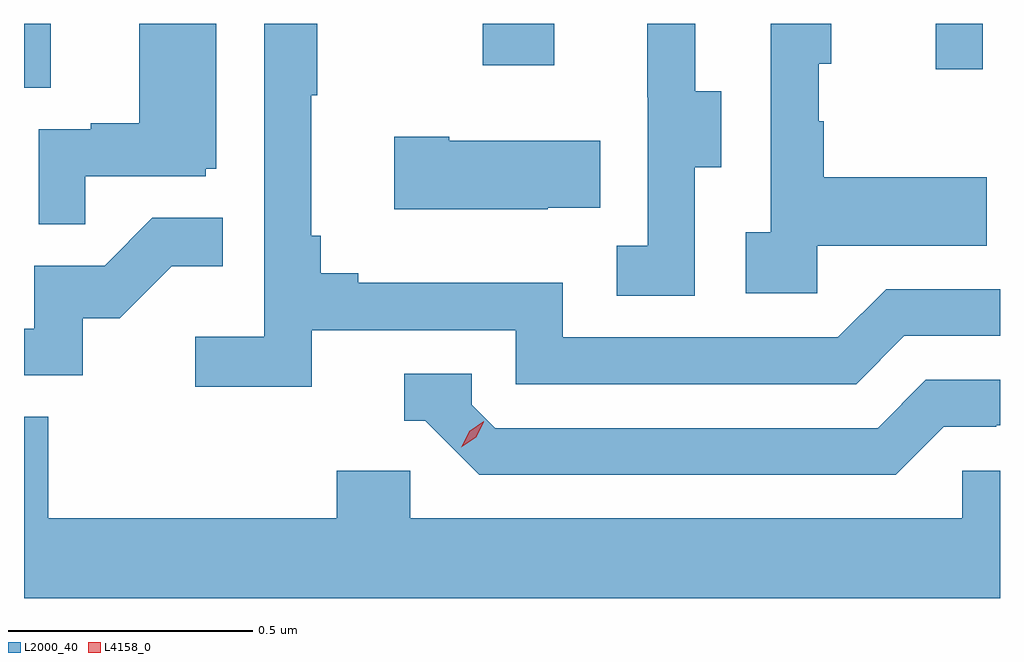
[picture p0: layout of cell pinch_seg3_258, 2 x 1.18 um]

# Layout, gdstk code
import gdstk
lib = gdstk.Library(unit=1e-6, precision=1e-09)
def R(c, l, rs):  # rectangles x0, y0, x1, y1
    for r in rs: c.add(gdstk.rectangle(r[:2], r[2:], *l))
def P(c, l, *ps):  # polygons
    for p in ps: c.add(gdstk.Polygon(p, *l))
L2000_40 = (2000, 40)
L4158_0 = (4158, 0)

pinch_seg3_258 = lib.new_cell('pinch_seg3_258')
R(pinch_seg3_258, L2000_40, [(921.684,720.61,921.739,720.742), (923.552,720.648,923.649,720.742), (922.624,720.657,922.771,720.742)])
P(pinch_seg3_258, L2000_40, [(921.809,720.429),(922.056,720.429),(922.056,720.444),(922.078,720.444),(922.078,720.742),(921.92,720.742),(921.92,720.538),(921.821,720.538),(921.821,720.525),(921.714,720.525),(921.714,720.331),(921.809,720.331)],
  [(923.31,720.287),(923.657,720.287),(923.657,720.427),(923.323,720.427),(923.323,720.542),(923.313,720.542),(923.313,720.66),(923.338,720.66),(923.338,720.742),(923.214,720.742),(923.214,720.314),(923.163,720.314),(923.163,720.189),(923.31,720.189)],
  [(922.274,720.114),(922.692,720.114),(922.692,720.003),(923.389,720.003),(923.488,720.102),(923.684,720.102),(923.684,720.198),(923.451,720.198),(923.352,720.099),(922.788,720.099),(922.788,720.211),(922.369,720.211),(922.369,720.23),(922.292,720.23),(922.292,720.307),(922.273,720.307),(922.273,720.595),(922.285,720.595),(922.285,720.742),(922.176,720.742),(922.176,720.1),(922.035,720.1),(922.035,719.998),(922.274,719.998)],
  [(923.058,720.448),(923.113,720.448),(923.113,720.603),(923.059,720.603),(923.059,720.742),(922.961,720.742),(922.961,720.591),(922.962,720.591),(922.962,720.287),(922.899,720.287),(922.899,720.184),(923.058,720.184)],
  [(922.757,720.365),(922.865,720.365),(922.865,720.502),(922.555,720.502),(922.555,720.51),(922.443,720.51),(922.443,720.362),(922.757,720.362)],
  [(921.804,720.138),(921.88,720.138),(921.987,720.245),(922.091,720.245),(922.091,720.344),(921.947,720.344),(921.849,720.246),(921.705,720.246),(921.705,720.117),(921.684,720.117),(921.684,720.021),(921.804,720.021)],
  [(923.569,719.916),(923.676,719.916),(923.676,719.919),(923.684,719.919),(923.684,720.012),(923.532,720.012),(923.433,719.913),(922.65,719.913),(922.602,719.961),(922.602,720.024),(922.463,720.024),(922.463,719.928),(922.506,719.928),(922.617,719.817),(923.47,719.817)],
  [(923.684,719.826),(923.607,719.826),(923.607,719.728),(922.476,719.728),(922.476,719.826),(922.325,719.826),(922.325,719.728),(921.734,719.728),(921.734,719.936),(921.684,719.936),(921.684,719.564),(923.684,719.564)])
P(pinch_seg3_258, L4158_0, [(922.58,719.874),(922.58,719.874),(922.596,719.907),(922.626,719.927),(922.626,719.927),(922.626,719.926),(922.611,719.894),(922.58,719.874)])

lib.write_gds('pinch_seg3_258.gds')
